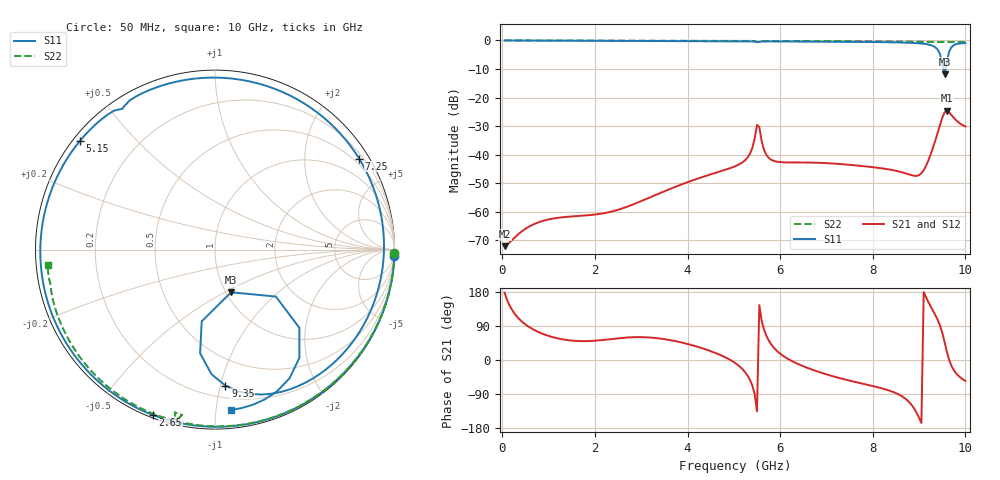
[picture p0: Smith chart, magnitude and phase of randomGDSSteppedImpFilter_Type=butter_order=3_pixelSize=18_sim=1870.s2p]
! freq	dB(S11)	phase(S11)	dB(S12)	phase(S12)
!  dB(S21)	phase(S21)	dB(S22)	phase(S22)
!S-par simulation data
#  GHz  S  DB  R 50
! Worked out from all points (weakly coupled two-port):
!   200 points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, 50 MHz to 10 GHz, reference 50 ohm
!   highest |S21| = -24.59 dB at 9.6 GHz (marker M1); lowest = -72.0 dB at 50 MHz (marker M2)
!   lowest |S11| = -11.9 dB at 9.55 GHz (marker M3), VSWR 1.68, Z = 52.8 - j26.9 ohm
!   |S11| at or under -10 dB: 9.526726 GHz to 9.570935 GHz (44.21 MHz wide, 0.463 % of centre)
!   |S22| runs from -0.6 to 0.0 dB; largest |S21 - S12| = 0
!   S11 on the Smith chart (normalised r, x): 50 MHz: 0, -53; 2.65 GHz: 0.01, -0.69; 5.15 GHz: 0.02, +0.35; 7.25 GHz: 0.33, +3.43; 9.35 GHz: 0.29, -1.04; 10 GHz: 0.12, -1.10
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0.05  -0.00 -2.2  -72.02 177.7  -72.02 177.7  -0.00 -1.0
0.75  -0.03 -32.1  -63.86 75.5  -63.86 75.5  -0.02 -15.2
1.75  -0.09 -73.8  -61.33 49.7  -61.33 49.7  -0.04 -34.9
2.65  -0.14 -110.5  -58.47 59.0  -58.47 59.0  -0.07 -52.1
3.4  -0.18 -141.3  -53.48 56.7  -53.48 56.7  -0.09 -66.0
4.25  -0.23 -177.5  -48.20 33.6  -48.20 33.6  -0.11 -81.2
5.05  -0.29 145.9  -43.89 -9.8  -43.89 -9.8  -0.15 -95.0
5.15  -0.30 141.1  -43.06 -19.8  -43.06 -19.8  -0.15 -96.8
5.35  -0.33 131.1  -39.60 -52.9  -39.60 -52.9  -0.18 -100.6
5.5  -0.54 123.4  -29.57 -135.7  -29.57 -135.7  -0.60 -103.9
5.65  -0.35 117.1  -38.24 80.7  -38.24 80.7  -0.22 -103.7
5.8  -0.35 109.1  -41.70 42.6  -41.70 42.6  -0.19 -106.7
6.7  -0.41 61.6  -42.77 -25.8  -42.77 -25.8  -0.24 -121.6
7.25  -0.45 32.3  -43.21 -46.6  -43.21 -46.6  -0.28 -130.4
8.35  -0.63 -24.2  -45.16 -80.4  -45.16 -80.4  -0.38 -147.8
9  -1.01 -58.6  -47.14 -152.4  -47.14 -152.4  -0.45 -158.3
9.35  -2.38 -85.6  -35.05 118.7  -35.05 118.7  -0.50 -164.1
9.45  -4.68 -98.2  -29.68 91.5  -29.68 91.5  -0.53 -165.8
9.55  -11.90 -69.3  -25.17 47.8  -25.17 47.8  -0.56 -167.3
9.6  -7.37 -37.7  -24.59 21.8  -24.59 21.8  -0.57 -168.0
9.75  -1.63 -59.9  -27.10 -26.9  -27.10 -26.9  -0.55 -170.5
10  -0.93 -84.3  -30.13 -55.1  -30.13 -55.1  -0.57 -174.8
